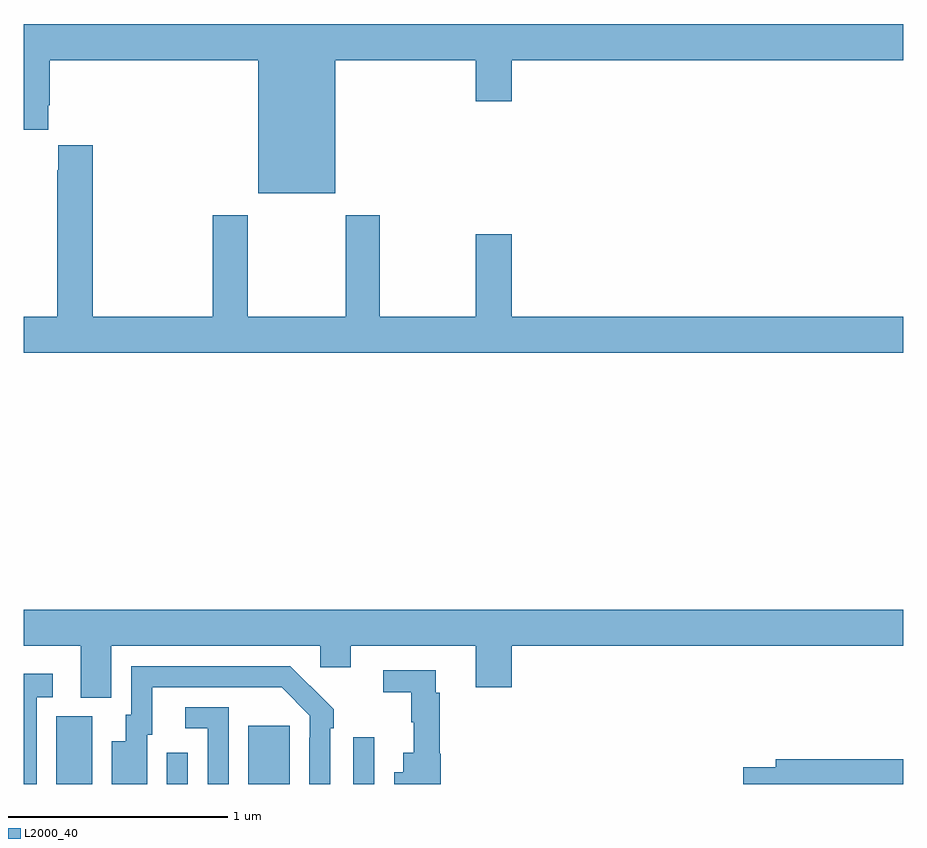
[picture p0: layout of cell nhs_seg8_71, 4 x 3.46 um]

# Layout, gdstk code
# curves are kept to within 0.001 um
import gdstk
lib = gdstk.Library(unit=1e-6, precision=1e-09)
def R(c, l, rs):  # rectangles x0, y0, x1, y1
    for r in rs: c.add(gdstk.rectangle(r[:2], r[2:], *l))
def P(c, l, *ps):  # polygons
    for p in ps: c.add(gdstk.Polygon(p, *l))
L2000_40 = (2000, 40)

nhs_seg8_71 = lib.new_cell('nhs_seg8_71')
R(nhs_seg8_71, L2000_40, [(115.148,1087.9,115.312,1088.208), (115.65,1087.9,115.746,1088.041), (116.021,1087.9,116.209,1088.164), (116.499,1087.9,116.595,1088.113)])
P(nhs_seg8_71, L2000_40, [(116.416,1091.192),(117.056,1091.192),(117.056,1091.004),(117.22,1091.004),(117.22,1091.192),(119,1091.192),(119,1091.356),(115,1091.356),(115,1090.875),(115.111,1090.875),(115.111,1090.987),(115.118,1090.987),(115.118,1091.192),(116.066,1091.192),(116.066,1090.586),(116.416,1090.586)],
  [(119,1090.024),(117.22,1090.024),(117.22,1090.399),(117.056,1090.399),(117.056,1090.024),(116.619,1090.024),(116.619,1090.486),(116.464,1090.486),(116.464,1090.024),(116.019,1090.024),(116.019,1090.486),(115.859,1090.486),(115.859,1090.024),(115.313,1090.024),(115.313,1090.804),(115.157,1090.804),(115.157,1090.691),(115.153,1090.691),(115.153,1090.024),(115,1090.024),(115,1089.86),(119,1089.86)],
  [(115.399,1088.528),(116.349,1088.528),(116.349,1088.43),(116.488,1088.43),(116.488,1088.528),(117.056,1088.528),(117.056,1088.34),(117.22,1088.34),(117.22,1088.528),(119,1088.528),(119,1088.692),(115,1088.692),(115,1088.528),(115.259,1088.528),(115.259,1088.293),(115.399,1088.293)],
  [(115.561,1088.124),(115.585,1088.124),(115.585,1088.34),(116.173,1088.34),(116.301,1088.211),(116.301,1088.111),(116.298,1088.111),(116.298,1087.9),(116.394,1087.9),(116.394,1088.153),(116.409,1088.153),(116.409,1088.241),(116.212,1088.436),(115.488,1088.436),(115.488,1088.214),(115.463,1088.214),(115.463,1088.095),(115.4,1088.095),(115.4,1087.9),(115.561,1087.9)],
  [(116.897,1088.037),(116.891,1088.037),(116.891,1088.315),(116.873,1088.315),(116.873,1088.418),(116.634,1088.418),(116.634,1088.317),(116.763,1088.317),(116.763,1088.181),(116.774,1088.181),(116.774,1088.041),(116.726,1088.041),(116.726,1087.954),(116.684,1087.954),(116.684,1087.9),(116.897,1087.9)],
  [(115.059,1088.295),(115.132,1088.295),(115.132,1088.401),(115,1088.401),(115,1087.9),(115.059,1087.9)],
  [(115.932,1088.25),(115.734,1088.25),(115.734,1088.154),(115.836,1088.154),(115.836,1087.9),(115.932,1087.9)],
  [(119,1088.012),(118.421,1088.012),(118.421,1087.976),(118.272,1087.976),(118.272,1087.9),(119,1087.9)])

lib.write_gds('nhs_seg8_71.gds')
